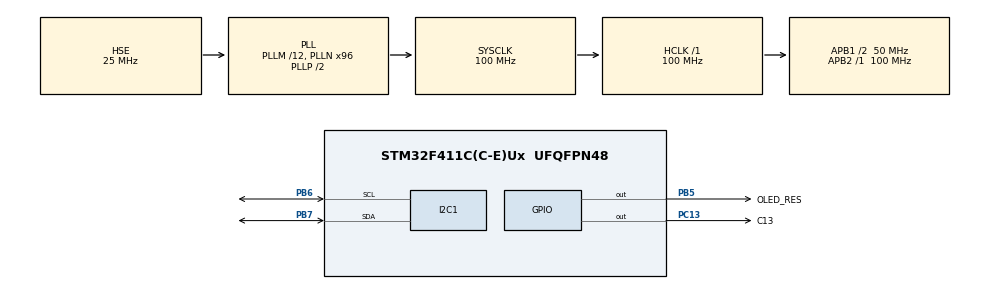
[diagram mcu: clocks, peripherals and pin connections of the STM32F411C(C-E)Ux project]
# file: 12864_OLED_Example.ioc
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I2C1.I2C_Mode=I2C_Fast
Mcu.Family=STM32F4
Mcu.Name=STM32F411C(C-E)Ux
Mcu.Package=UFQFPN48
NVIC.PriorityGroup=NVIC_PRIORITYGROUP_4
PB5.GPIO_Label=OLED_RES
PB5.Signal=GPIO_Output
PB6.Mode=I2C
PB6.Signal=I2C1_SCL
PB7.Mode=I2C
PB7.Signal=I2C1_SDA
PC13-ANTI_TAMP.GPIO_Label=C13
PC13-ANTI_TAMP.Signal=GPIO_Output
PC14-OSC32_IN.Mode=LSE-External-Oscillator
PC14-OSC32_IN.Signal=RCC_OSC32_IN
PC15-OSC32_OUT.Mode=LSE-External-Oscillator
PC15-OSC32_OUT.Signal=RCC_OSC32_OUT
PH0\ -\ OSC_IN.Mode=HSE-External-Oscillator
PH0\ -\ OSC_IN.Signal=RCC_OSC_IN
PH1\ -\ OSC_OUT.Mode=HSE-External-Oscillator
PH1\ -\ OSC_OUT.Signal=RCC_OSC_OUT
ProjectManager.HeapSize=0x200
ProjectManager.StackSize=0x400
ProjectManager.TargetToolchain=MDK-ARM V5.32
RCC.48MHZClocksFreq_Value=50000000
RCC.AHBFreq_Value=100000000
RCC.APB1CLKDivider=RCC_HCLK_DIV2
RCC.APB1Freq_Value=50000000
RCC.APB1TimFreq_Value=100000000
RCC.APB2Freq_Value=100000000
RCC.APB2TimFreq_Value=100000000
RCC.CortexFreq_Value=100000000
RCC.HCLKFreq_Value=100000000
RCC.HSE_VALUE=25000000
RCC.HSI_VALUE=16000000
RCC.PLLM=12
RCC.PLLN=96
RCC.PLLSourceVirtual=RCC_PLLSOURCE_HSE
RCC.SYSCLKFreq_VALUE=100000000
RCC.SYSCLKSource=RCC_SYSCLKSOURCE_PLLCLK
RCC.VCOOutputFreq_Value=200000000
board=custom

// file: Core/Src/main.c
/* USER CODE BEGIN Header */
/**
  ******************************************************************************
  * @file           : main.c
  * @brief          : Main program body
  ******************************************************************************
  * @attention
  *
  * <h2><center>&copy; Copyright (c) 2021 STMicroelectronics.
  * All rights reserved.</center></h2>
  *
  * This software component is licensed by ST under BSD 3-Clause license,
  * the "License"; You may not use this file except in compliance with the
  * License. You may obtain a copy of the License at:
  *                        opensource.org/licenses/BSD-3-Clause
  *
  ******************************************************************************
  */
/* USER CODE END Header */
#include "main.h"
#include "i2c.h"
#include "gpio.h"

/* USER CODE BEGIN Includes */
#include "OLED.h"
/* USER CODE END Includes */

void SystemClock_Config(void);
/* USER CODE BEGIN PFP */
void LED_Blink(uint32_t Hdelay,uint32_t Ldelay)
{
	HAL_GPIO_WritePin(C13_GPIO_Port,C13_Pin,GPIO_PIN_RESET);
	HAL_Delay(Hdelay - 1);
	HAL_GPIO_WritePin(C13_GPIO_Port,C13_Pin,GPIO_PIN_SET);
	HAL_Delay(Ldelay-1);
}
/* USER CODE END PFP */

int main(void)
{

  /* MCU Configuration--------------------------------------------------------*/

  /* Reset of all peripherals, Initializes the Flash interface and the Systick. */
  HAL_Init();

  /* Configure the system clock */
  SystemClock_Config();

  /* Initialize all configured peripherals */
  MX_GPIO_Init();
  MX_I2C1_Init();
  /* USER CODE BEGIN 2 */
	OLED_Init();
	OLED_SetBrightness(128);
	OLED_ColorTurn(0);
	OLED_DisplayTurn(0);
	OLED_ShowString(0,16,(uint8_t *)&"  WeAct Studio  ",16,0);
	OLED_ShowString(0,34,(uint8_t *)&"OLED Module,IIC,5VMax",8,1);
	OLED_Refresh();
	HAL_Delay(2000);
	OLED_ShowString(0,34,(uint8_t *)&"  WeAct Studio  ",16,0);
	OLED_ShowString(0,56,(uint8_t *)&"OLED Module,IIC,5VMax",8,1);
	OLED_ScrollDisplay(7,3,1);
  /* USER CODE END 2 */

  /* Infinite loop */
  /* USER CODE BEGIN WHILE */
  while (1)
  {
		LED_Blink(20,800);
    /* USER CODE END WHILE */

  }
}

void SystemClock_Config(void)
{
  RCC_OscInitTypeDef RCC_OscInitStruct = {0};
  RCC_ClkInitTypeDef RCC_ClkInitStruct = {0};

  /** Configure the main internal regulator output voltage
  */
  __HAL_RCC_PWR_CLK_ENABLE();
  __HAL_PWR_VOLTAGESCALING_CONFIG(PWR_REGULATOR_VOLTAGE_SCALE1);

  /** Initializes the RCC Oscillators according to the specified parameters
  * in the RCC_OscInitTypeDef structure.
  */
  RCC_OscInitStruct.OscillatorType = RCC_OSCILLATORTYPE_HSE;
  RCC_OscInitStruct.HSEState = RCC_HSE_ON;
  RCC_OscInitStruct.PLL.PLLState = RCC_PLL_ON;
  RCC_OscInitStruct.PLL.PLLSource = RCC_PLLSOURCE_HSE;
  RCC_OscInitStruct.PLL.PLLM = 12;
  RCC_OscInitStruct.PLL.PLLN = 96;
  RCC_OscInitStruct.PLL.PLLP = RCC_PLLP_DIV2;
  RCC_OscInitStruct.PLL.PLLQ = 4;
  if (HAL_RCC_OscConfig(&RCC_OscInitStruct) != HAL_OK)
  {
    Error_Handler();
  }

  /** Initializes the CPU, AHB and APB buses clocks
  */
  RCC_ClkInitStruct.ClockType = RCC_CLOCKTYPE_HCLK|RCC_CLOCKTYPE_SYSCLK
                              |RCC_CLOCKTYPE_PCLK1|RCC_CLOCKTYPE_PCLK2;
  RCC_ClkInitStruct.SYSCLKSource = RCC_SYSCLKSOURCE_PLLCLK;
  RCC_ClkInitStruct.AHBCLKDivider = RCC_SYSCLK_DIV1;
  RCC_ClkInitStruct.APB1CLKDivider = RCC_HCLK_DIV2;
  RCC_ClkInitStruct.APB2CLKDivider = RCC_HCLK_DIV1;

  if (HAL_RCC_ClockConfig(&RCC_ClkInitStruct, FLASH_LATENCY_3) != HAL_OK)
  {
    Error_Handler();
  }
}

void Error_Handler(void)
{
  __disable_irq();
  while (1)
  {
  }
}
